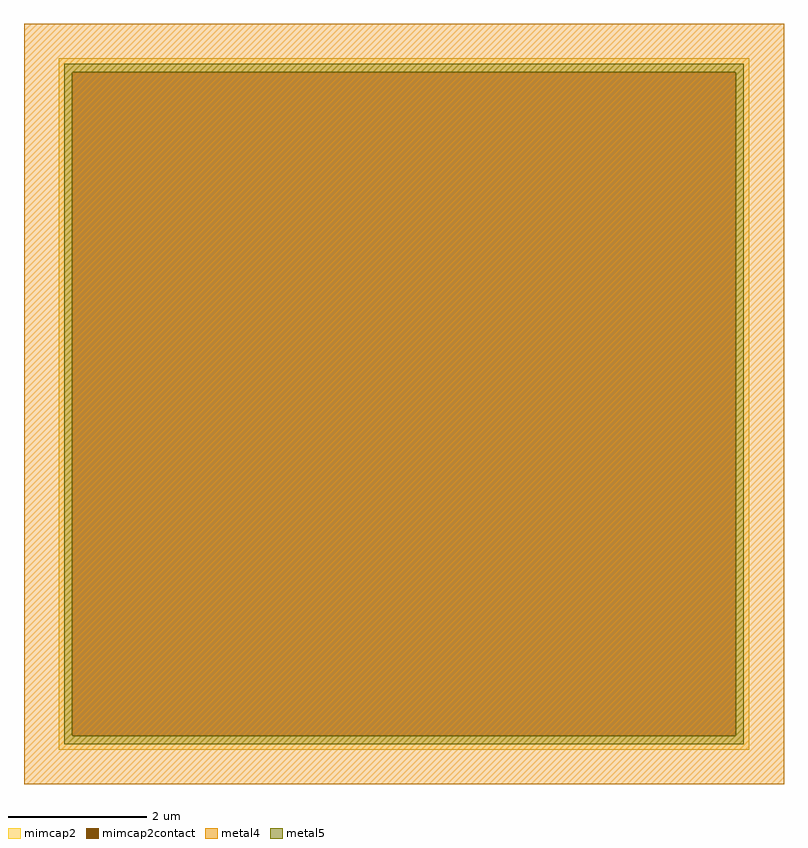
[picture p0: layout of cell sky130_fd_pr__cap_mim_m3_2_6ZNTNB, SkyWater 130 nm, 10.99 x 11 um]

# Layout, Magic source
magic
tech sky130A
<< metal4 >>
rect -675 -550 424 550
<< mimcap2 >>
rect -625 480 374 500
rect -625 -480 -605 480
rect 354 -480 374 480
rect -625 -500 374 -480
<< mimcap2contact >>
rect -605 -480 354 480
<< metal5 >>
rect -617 480 366 492
rect -617 -480 -605 480
rect 354 -480 366 480
rect -617 -492 366 -480
<< properties >>
string FIXED_BBOX -675 -550 424 550
string gencell sky130_fd_pr__cap_mim_m3_2
string library sky130
string parameters w 10 l 10 val 207.6 carea 2.00 cperi 0.19 nx 1 ny 1 dummy 0 square 0 lmin 2.00 wmin 2.00 lmax 30.0 wmax 30.0 dc 0 bconnect 1 tconnect 1 ccov 100
<< end >>
